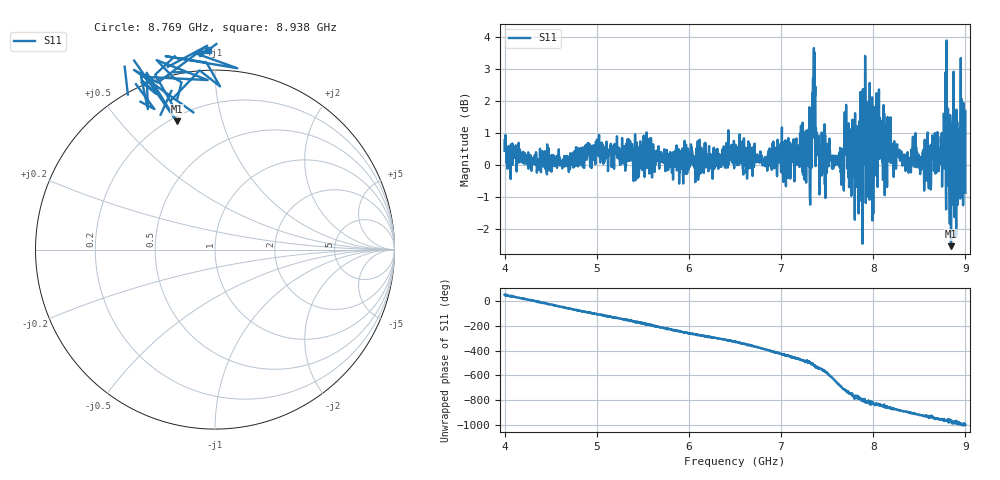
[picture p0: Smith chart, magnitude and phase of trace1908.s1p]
! Created with skrf 1.8.0 (http://scikit-rf.org).
# Hz S RI R 50.0
!freq ReS11 ImS11
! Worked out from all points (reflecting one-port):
!   1601 points, 4 GHz to 9 GHz, reference 50 ohm
!   lowest |S11| = -2.5 dB at 8.844 GHz (marker M1), VSWR 6.91, Z = 11.1 + j36 ohm
!   phase of S11 starts at 52 deg and turns -1050 deg over the sweep
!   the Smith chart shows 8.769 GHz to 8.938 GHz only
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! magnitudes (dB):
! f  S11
! 4 GHz  0.5
! 4.625 GHz  -0.1
! 5.25 GHz  0.1
! 5.875 GHz  0.4
! 6.5 GHz  0.4
! 7.125 GHz  0.7
! 7.294 GHz  0.4
! 7.325 GHz  1.8
! 7.347 GHz  2.7
! 7.378 GHz  1.2
! 7.4 GHz  0.4
! 7.438 GHz  -0.3
! 7.525 GHz  0.8
! 7.659 GHz  0.2
! 7.709 GHz  0.9
! 7.75 GHz  0.6
! 7.819 GHz  1.1
! 7.912 GHz  3.4
! 7.981 GHz  1.0
! 8.05 GHz  1.8
! 8.375 GHz  0.2
! 8.441 GHz  0.0
! 8.603 GHz  -0.7
! 8.788 GHz  -0.7
! 8.844 GHz  -2.5
! 8.959 GHz  2.1
! 8.972 GHz  0.7
! 9 GHz  -0.9
